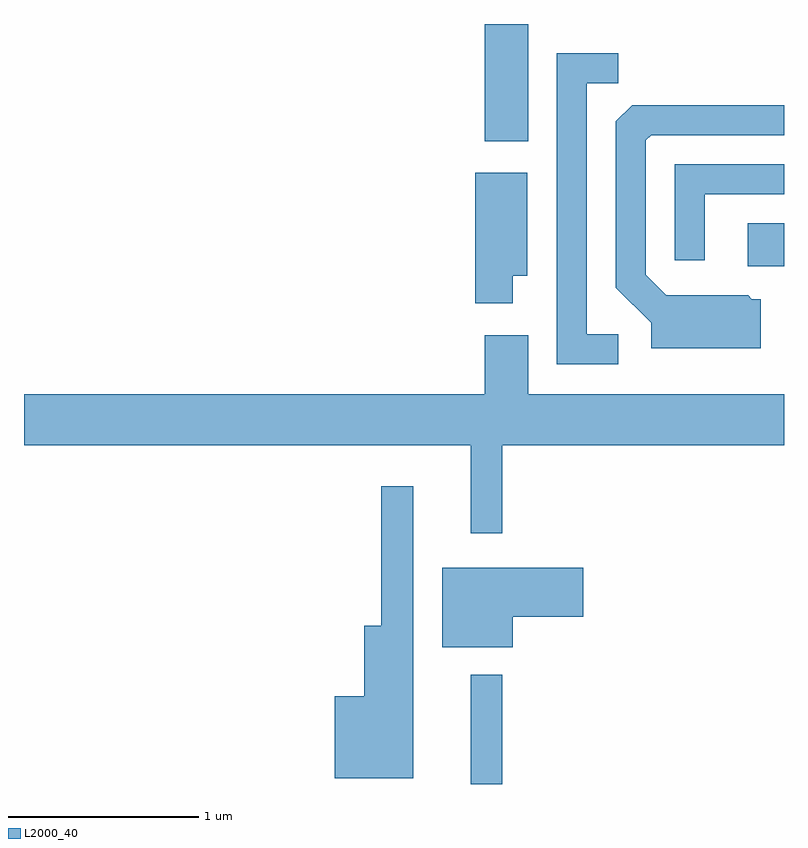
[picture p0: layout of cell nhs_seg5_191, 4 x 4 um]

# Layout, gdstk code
import gdstk
lib = gdstk.Library(unit=1e-6, precision=1e-09)
def R(c, l, rs):  # rectangles x0, y0, x1, y1
    for r in rs: c.add(gdstk.rectangle(r[:2], r[2:], *l))
def P(c, l, *ps):  # polygons
    for p in ps: c.add(gdstk.Polygon(p, *l))
L2000_40 = (2000, 40)

nhs_seg5_191 = lib.new_cell('nhs_seg5_191')
R(nhs_seg5_191, L2000_40, [(191.961,1506.072,192.129,1506.648), (193.421,1508.796,193.611,1509.024), (192.036,1509.456,192.264,1510.072)])
P(nhs_seg5_191, L2000_40, [(192.738,1508.439),(192.574,1508.439),(192.574,1509.761),(192.738,1509.761),(192.738,1509.919),(192.416,1509.919),(192.416,1508.281),(192.738,1508.281)],
  [(193.489,1508.624),(193.442,1508.624),(193.422,1508.644),(192.992,1508.644),(192.884,1508.752),(192.884,1509.459),(192.912,1509.486),(193.611,1509.486),(193.611,1509.644),(192.812,1509.644),(192.726,1509.559),(192.726,1508.684),(192.911,1508.499),(192.911,1508.366),(193.489,1508.366)],
  [(193.194,1509.176),(193.611,1509.176),(193.611,1509.334),(193.036,1509.334),(193.036,1508.828),(193.194,1508.828)],
  [(192.184,1508.746),(192.259,1508.746),(192.259,1509.289),(191.986,1509.289),(191.986,1508.601),(192.184,1508.601)],
  [(192.129,1507.856),(193.611,1507.856),(193.611,1508.124),(192.264,1508.124),(192.264,1508.434),(192.036,1508.434),(192.036,1508.124),(189.611,1508.124),(189.611,1507.856),(191.961,1507.856),(191.961,1507.393),(192.129,1507.393)],
  [(191.659,1507.638),(191.491,1507.638),(191.491,1506.904),(191.401,1506.904),(191.401,1506.534),(191.246,1506.534),(191.246,1506.101),(191.659,1506.101)],
  [(192.184,1506.951),(192.554,1506.951),(192.554,1507.209),(191.811,1507.209),(191.811,1506.791),(192.184,1506.791)])

lib.write_gds('nhs_seg5_191.gds')
